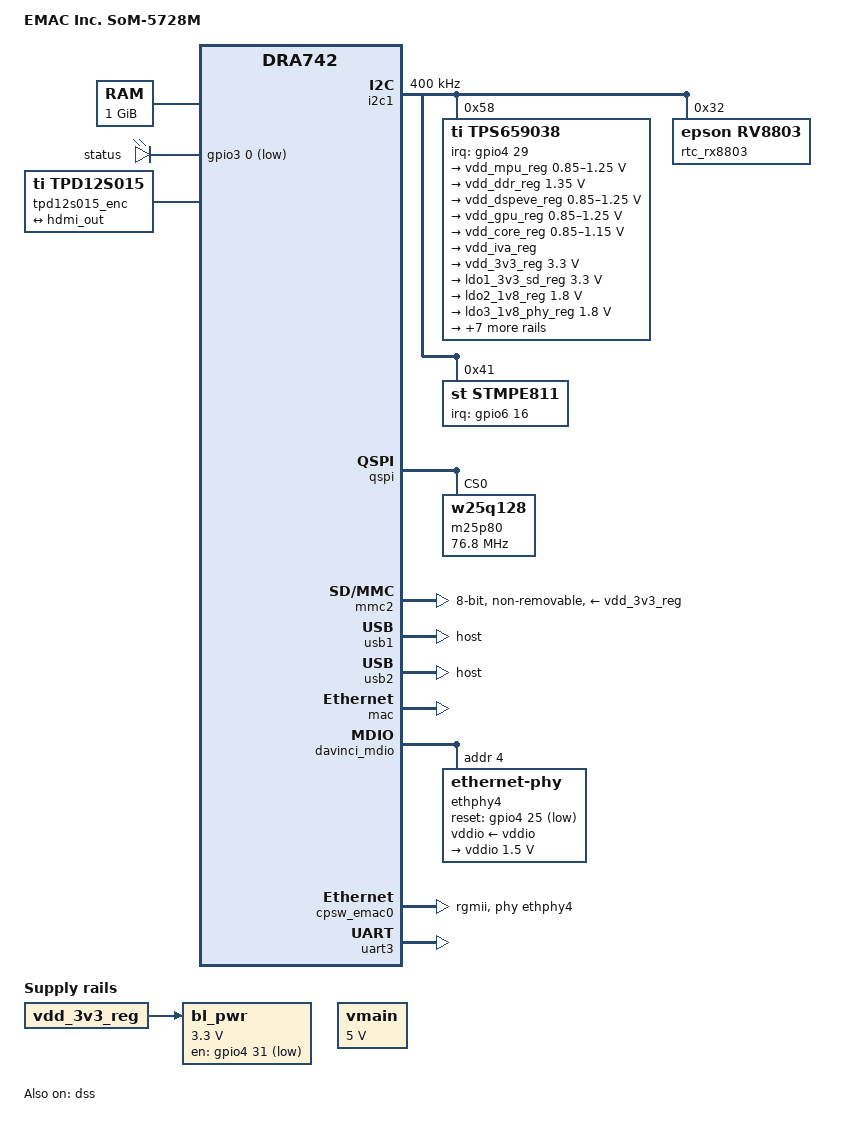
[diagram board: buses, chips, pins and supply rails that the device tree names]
/*
 * Copyright (C) 2014-2016 Texas Instruments Incorporated - http://www.ti.com/
 *
 * This program is free software; you can redistribute it and/or modify
 * it under the terms of the GNU General Public License version 2 as
 * published by the Free Software Foundation.
 */
/dts-v1/;

#include "dra74x.dtsi"
#include "am57xx-commercial-grade.dtsi"

#include "dra74x-mmc-iodelay.dtsi"

#include <dt-bindings/gpio/gpio.h>
#include <dt-bindings/interrupt-controller/irq.h>
#include <dt-bindings/net/qca-ar803x.h>

/ {
	model = "EMAC Inc. SoM-5728M";
	compatible = "emac,som-5728m", "ti,dra742", "ti,dra74", "ti,dra7";

	aliases {
		rtc0 = &rtc_rx8803;
		rtc1 = &tps659038_rtc;
		rtc2 = &rtc;
        mmcblk0 = &mmc1;
        mmcblk1 = &mmc2;
		spi1 = &mcspi3;
		spi2 = &mcspi4;
	};

	chosen {
		stdout-path = &uart3;
	};

	memory@0 {
		device_type = "memory";
		reg = <0x0 0x80000000 0x0 0x40000000>; /* 1GB configuration */
	};

	vmain: fixedregulator-vmain {
		compatible = "regulator-fixed";
		regulator-name = "VMAIN";
		regulator-min-microvolt = <5000000>;
		regulator-max-microvolt = <5000000>;
		regulator-always-on;
		regulator-boot-on;
	};

	bl_pwr: backlight-pwr-en {
		compatible = "regulator-fixed";
		regulator-name = "LVDS ABL EN";
		regulator-min-microvolt = <3300000>;
		regulator-max-microvolt = <3300000>;
		regulator-boot-on;
		vin-supply = <&vdd_3v3_reg>;
		gpio = <&gpio4 31 GPIO_ACTIVE_LOW>;
		startup-delay-us = <1000>;
	};

	leds {
		compatible = "gpio-leds";
		led0 {
			label = "status";
			gpios = <&gpio3 0 GPIO_ACTIVE_LOW>;
			linux,default-trigger = "heartbeat";
		};
	};

	tpd12s015_enc: encoder {
		compatible = "ti,tpd12s015";
		status = "okay";
		ports {
			#address-cells = <1>;
			#size-cells = <0>;

			port@0 {
				reg = <0>;

				tpd12s015_in: endpoint {
					remote-endpoint = <&hdmi_out>;
				};
			};

			port@1 {
				reg = <1>;

				tpd12s015_out: endpoint {
					remote-endpoint = <0>;
				};
			};
		};
	};
};

&cpu0 {
	vdd-supply = <&vdd_mpu_reg>;
	voltage-tolerance = <1>;
};

&cpu_trips {
	cpu_alert1: cpu_alert1 {
		temperature = <50000>; /* millicelsius */
		hysteresis = <2000>; /* millicelsius */
		type = "active";
	};
};

/*
 * i2c
 */
&i2c1 {
	status = "okay";
	clock-frequency = <400000>;
        // pmic
	tps659038: tps659038@58 {
		compatible = "ti,tps659038";
		reg = <0x58>;
		interrupt-parent = <&gpio4>;
		interrupts = <29 IRQ_TYPE_LEVEL_LOW>;
		#interrupt-cells = <2>;
		interrupt-controller;

		ti,palmas-override-powerhold;
		ti,system-power-controller;

		tps659038_pmic {
			compatible = "ti,tps659038-pmic";
			smps12-in-supply = <&vmain>;
			smps3-in-supply = <&vmain>;
			smps45-in-supply = <&vmain>;
			smps6-in-supply = <&vmain>;
			smps7-in-supply = <&vmain>;
			smps8-in-supply = <&vmain>;
			smps9-in-supply = <&vmain>;
			ldo1-in-supply = <&vmain>;
			ldo2-in-supply = <&vmain>;
			ldo3-in-supply = <&vmain>;
			ldo4-in-supply = <&vmain>;
			ldo9-in-supply = <&vmain>;
			ldoln-in-supply = <&vmain>;
			ldousb-in-supply = <&vmain>;
			ldortc-in-supply = <&vmain>;

			regulators {
				vdd_mpu_reg: smps12 {
					regulator-name = "smps12";
					regulator-min-microvolt = < 850000>;
					regulator-max-microvolt = <1250000>;
					regulator-always-on;
					regulator-boot-on;
				};

				vdd_ddr_reg: smps3 {
					/* VDD_DDR */
					regulator-name = "smps3";
					regulator-min-microvolt = <1350000>;
					regulator-max-microvolt = <1350000>;
					regulator-always-on;
					regulator-boot-on;
				};

				vdd_dspeve_reg: smps45 {
					/* VDD_DSPEVE */
					regulator-name = "smps45";
					regulator-min-microvolt = < 850000>;
					regulator-max-microvolt = <1250000>;
					regulator-always-on;
					regulator-boot-on;
				};

				vdd_gpu_reg: smps6 {
					/* VDD_GPU */
					regulator-name = "smps6";
					regulator-min-microvolt = <850000>;
					regulator-max-microvolt = <1250000>;
					regulator-always-on;
					regulator-boot-on;
				};

				vdd_core_reg: smps7 {
					/* VDD_CORE */
					regulator-name = "smps7";
					regulator-min-microvolt = <850000>;
					regulator-max-microvolt = <1150000>;
					regulator-always-on;
					regulator-boot-on;
				};

				vdd_iva_reg: smps8 {
					/* VDD_IVA */
					regulator-name = "smps8";
					//regulator-min-microvolt = <1800000>;
					//regulator-max-microvolt = <1800000>;
					//regulator-always-on;
					//regulator-boot-on;
				};

				vdd_3v3_reg: smps9 {
					/* VDD_3V3 */
					regulator-name = "smps9";
					regulator-min-microvolt = <3300000>;
					regulator-max-microvolt = <3300000>;
					regulator-always-on;
					regulator-boot-on;
				};

				ldo1_3v3_sd_reg: ldo1 {
					/* VDD_SD / VDDSHV8  */
					regulator-name = "ldo1";
					regulator-min-microvolt = <3300000>;
					regulator-max-microvolt = <3300000>;
					regulator-boot-on;
					regulator-always-on;
				};

				ldo2_1v8_reg: ldo2 {
					/* VDD_SHV5 */
					regulator-name = "ldo2";
					regulator-min-microvolt = <1800000>;
					regulator-max-microvolt = <1800000>;
					regulator-always-on;
					regulator-boot-on;
				};

				ldo3_1v8_phy_reg: ldo3 {
					/* VDDA_1V8_PHYA */
					regulator-name = "ldo3";
					regulator-min-microvolt = <1800000>;
					regulator-max-microvolt = <1800000>;
					regulator-always-on;
					regulator-boot-on;
				};

				ldo4_1v8_phy_reg: ldo4 {
					/* VDDA_1V8_PHYB */
					regulator-name = "ldo4";
					regulator-min-microvolt = <1800000>;
					regulator-max-microvolt = <1800000>;
					regulator-always-on;
					regulator-boot-on;
				};

				ldo9_rtc_reg: ldo9 {
					/* VDD_RTC */
					regulator-name = "ldo9";
					regulator-min-microvolt = <840000>;
					regulator-max-microvolt = <1160000>;
					regulator-always-on;
					regulator-boot-on;
				};

				ldoln_1v8_pll_reg: ldoln {
					/* VDDA_1V8_PLL */
					regulator-name = "ldoln";
					regulator-min-microvolt = <1800000>;
					regulator-max-microvolt = <1800000>;
					regulator-always-on;
					regulator-boot-on;
				};

				ldousb_3v3_reg: ldousb {
					/* VDDA_3V_USB: VDDA_USBHS33 */
					regulator-name = "ldousb";
					regulator-min-microvolt = <3300000>;
					regulator-max-microvolt = <3300000>;
					regulator-boot-on;
				};
				
				ldortc_1v8_reg: ldortc {
					/* VDDA_RTC  */
					regulator-name = "ldortc";
					regulator-min-microvolt = <1800000>;
					regulator-max-microvolt = <1800000>;
					regulator-always-on;
					regulator-boot-on;
				};

				/* unused */
				regen1: regen1 {
					/* VDD_3V3_ON */
					regulator-name = "regen1";
					regulator-boot-on;
					regulator-always-on;
				};
				/* unused */
				regen2: regen2 {
					/* Needed for PMIC internal resource */
					regulator-name = "regen2";
					regulator-boot-on;
					regulator-always-on;
				};
			};
		};

		tps659038_rtc: tps659038_rtc {
			compatible = "ti,palmas-rtc";
			interrupt-parent = <&tps659038>;
			interrupts = <8 IRQ_TYPE_EDGE_FALLING>;
			wakeup-source;
		};

		tps659038_pwr_button: tps659038_pwr_button {
			compatible = "ti,palmas-pwrbutton";
			interrupt-parent = <&tps659038>;
			interrupts = <1 IRQ_TYPE_EDGE_FALLING>;
			wakeup-source;
			ti,palmas-long-press-seconds = <12>;
		};
        
	};
	
	rtc_rx8803: rtc@32 {
		status = "okay";
		compatible = "epson,rv8803";
		reg = <0x32>;
	};

	/* STMPE811 touch screen controller */
	stmpe811@41 {
		compatible = "st,stmpe811";
		reg = <0x41>;
		interrupt-parent = <&gpio6>;
		interrupts = <16 IRQ_TYPE_LEVEL_LOW>;
		interrupt-controller;
		id = <0>;
		blocks = <0x5>;
		irq-trigger = <0x1>;
		st,mod-12b = <1>; /* 12-bit ADC */
		st,ref-sel = <0>; /* internal ADC reference */
		st,adc-freq = <1>; /* 3.25 MHz ADC clock speed */
		st,sample-time = <4>; /* ADC converstion time: 80 clocks */

		stmpe_adc {
			compatible = "st,stmpe-adc";
			/* forbid to use ADC channels 3-0 (touch) */
			st,norequest-mask = <0x0F>;
		};

		touch: stmpe_touchscreen {
			status = "disabled";
			compatible = "st,stmpe-ts";
			/* 8 sample average control */
			st,ave-ctrl = <3>;
			/* 7 length fractional part in z */
			st,fraction-z = <7>;
			/*
			 * 50 mA typical 80 mA max touchscreen drivers
			 * current limit value
			 */
			st,i-drive = <1>;
			/* 1 ms panel driver settling time */
			st,settling = <3>;
			/* 5 ms touch detect interrupt delay */
			st,touch-det-delay = <5>;
		};
	};
};

/*
 * SPI interfaces
*/

&qspi {
	status = "okay";
	spi-max-frequency = <76800000>;
	m25p80@0 {
		compatible = "w25q128", "jedec,spi-nor";
		spi-max-frequency = <76800000>;
		reg = <0>;
		spi-tx-bus-width = <1>;
		spi-rx-bus-width = <1>;
		#address-cells = <1>;
		#size-cells = <1>;
	};
};

&mcspi3 {
	status = "disabled";
	/* CS0 - native (vout1_clk) 
	 * CS1 - native (vout1_fld) 
	 * CS2 - native (vout1_d0) 
	 */
	cs-gpios = <0>,<0>,<0>;
	num-cs = <3>;

	pinctrl-names = "default";
    pinctrl-0 = <&mcspi3_pins_default>;
};

&mcspi4 {
	status = "disabled";
	/* CS0 - native (vin2a_d1) 
	 * CS1 - native (gpmc_a12) 
	 * CS2 - nc
	 * CS3 - native (gpmc_a14) 
	 */
	cs-gpios = <0>,<0>,<0>,<0>;
	num-cs = <4>;

	pinctrl-names = "default";
    pinctrl-0 = <&mcspi4_pins_default>;

	no-device@2 {/* Do Not Use */};
};

&mmc1 {
    status = "disabled";
    bus-width = <4>;
    vmmc-supply = <&vdd_3v3_reg>;
    vqmmc-supply = <&ldo1_3v3_sd_reg>;
    max-frequency = <48000000>;
    no-1-8-v;
    
    pinctrl-names = "default", "hs";
	pinctrl-0 = <&mmc1_pins_default>;
	pinctrl-1 = <&mmc1_pins_hs>;
};

&mmc2 {
    status = "okay";
    vmmc-supply = <&vdd_3v3_reg>;
    vqmmc-supply = <&vdd_3v3_reg>;
    bus-width = <8>;
    non-removable;
    max-frequency = <96000000>;
	no-1-8-v;
    
    pinctrl-names = "default", "hs";
	pinctrl-0 = <&mmc2_pins_default>;
	pinctrl-1 = <&mmc2_pins_hs>;
};

&mmc4 {
    status = "disabled";
    bus-width = <4>;
    vmmc-supply = <&vdd_3v3_reg>;
    vqmmc-supply = <&ldo1_3v3_sd_reg>;
    max-frequency = <48000000>;
    no-1-8-v;

    pinctrl-names = "default", "hs";
	pinctrl-0 = <&mmc4_pins_default>;
	pinctrl-1 = <&mmc4_pins_hs>;
};

// usb3.x interface
&usb1 { 
	dr_mode = "host";
};

// usb2.x interface
&usb2 { 
	dr_mode = "host";
};

&mac{
	slaves = <1>;
	status = "okay";
};

&davinci_mdio {
    ethphy4: ethernet-phy@4 {
		reg = <4>;
		qca,clk-out-frequency = <50000000>;
		qca,keep-pll-enabled;
		vddio-supply = <&vddio>;
		reset-gpios = <&gpio4 25 GPIO_ACTIVE_LOW>;
    	reset-assert-us = <500000>;
		reset-deassert-us = <500000>;

		vddio: vddio-regulator {
			regulator-min-microvolt = <1500000>;
			regulator-max-microvolt = <1500000>;
		};
    };
};

&cpsw_emac0 {
    phy-handle = <&ethphy4>;
    phy-mode = "rgmii";
	ti,dual-emac-pvid = <1>;
};
&cpsw_emac1 {
    status = "disabled";
};

&usb2_phy1 {
	phy-supply = <&ldousb_3v3_reg>;
};

&usb2_phy2 {
	phy-supply = <&ldousb_3v3_reg>;
};

&dss {
	status = "okay";
	vdda_video-supply = <&ldoln_1v8_pll_reg>;
	ports {
		#address-cells = <1>;
		#size-cells = <0>;
		port@2 {
			reg = <2>;
			lvds_out: endpoint {
				data-lines = <18>;
				status = "disabled";
			};
		};
	};
};

&hdmi {
	status = "disabled";
	vdda-supply = <&ldo4_1v8_phy_reg>;

	port {
		hdmi_out: endpoint {
			remote-endpoint = <&tpd12s015_in>;
		};
	};
};


&dra7_pmx_core {
	dcan1_pins_default: dcan1_pins_default {  
		pinctrl-single,pins = <
			DRA7XX_CORE_IOPAD(0x37d4, PIN_INPUT | MUX_MODE15) 	/* (Errata i893) dcan1_rx.dcan1_rx */
			DRA7XX_CORE_IOPAD(0x37d0, PIN_OUTPUT | MUX_MODE0) 	/* dcan1_tx.dcan1_tx */
		>;
	};

	dcan2_pins_default: dcan2_pins_default {
		pinctrl-single,pins = <
			DRA7XX_CORE_IOPAD(0x368c, PIN_INPUT | MUX_MODE15) 	/* (Errata i893) gpio6_15.dcan2_rx */
			DRA7XX_CORE_IOPAD(0x3688, PIN_OUTPUT | MUX_MODE2) 	/* gpio6_14.dcan2_tx */
		>;
	};
	uart5_pins: pinmux_uart5_pins {
		pinctrl-single,pins = <
			DRA7XX_CORE_IOPAD(0x35e0, PIN_INPUT | MUX_MODE2) /* vout1_d1.uart5_txd */
			DRA7XX_CORE_IOPAD(0x37c8, PIN_INPUT | MUX_MODE2) /* spi2_d0.uart5_rxd */
			DRA7XX_CORE_IOPAD(0x3448, PIN_INPUT | MUX_MODE8) /* gpmc_a2.uart5_cts */
			DRA7XX_CORE_IOPAD(0x344c, PIN_OUTPUT | MUX_MODE8) /* gpmc_a3.uart5_rts */
		>;
	};
	uart6_pins: pinmux_uart6_pins {
		pinctrl-single,pins = <
			DRA7XX_CORE_IOPAD(0x3600, PIN_INPUT | MUX_MODE2) /* vout1_d9.uart6_txd */
			DRA7XX_CORE_IOPAD(0x35fc, PIN_INPUT | MUX_MODE2) /* vout1_d8.uart6_rxd */
			DRA7XX_CORE_IOPAD(0x36bc, PIN_INPUT | MUX_MODE3) /* mcasp1_axr2.uart6_cts */
			DRA7XX_CORE_IOPAD(0x36c0, PIN_OUTPUT | MUX_MODE3) /* mcasp1_axr3.uart6_rts */
		>;
	};
	uart7_pins: pinmux_uart7_pins {
		pinctrl-single,pins = <
			DRA7XX_CORE_IOPAD(0x3620, PIN_INPUT | MUX_MODE2) /* vout1_d17.uart7_txd */
			DRA7XX_CORE_IOPAD(0x361c, PIN_INPUT | MUX_MODE2) /* vout1_d16.uart7_rxd */
			DRA7XX_CORE_IOPAD(0x34ec, PIN_INPUT | MUX_MODE5) /* vin1a_hsync0.uart7_cts */
			DRA7XX_CORE_IOPAD(0x34f0, PIN_OUTPUT | MUX_MODE5) /* vin1a_vsync0.uart7_rts */
		>;
	};
	uart8_pins: pinmux_uart8_pins {
		pinctrl-single,pins = <
			DRA7XX_CORE_IOPAD(0x345c, PIN_INPUT | MUX_MODE7) /* gpmc_a7.uart8_txd */
			DRA7XX_CORE_IOPAD(0x3458, PIN_INPUT | MUX_MODE7) /* gpmc_a6.uart8_rxd */
			DRA7XX_CORE_IOPAD(0x373c, PIN_INPUT | MUX_MODE3) /* mcasp4_axr0.uart8_cts */
			DRA7XX_CORE_IOPAD(0x3740, PIN_OUTPUT | MUX_MODE3) /* mcasp4_axr1.uart8_rts */
		>;
	};
	mcspi3_pins_default: mcspi3_pins_default {
		pinctrl-single,pins = <
			DRA7XX_CORE_IOPAD(0x35d4, PIN_INPUT | MUX_MODE8) /* vout1_hsync.spi3_d0 */
			DRA7XX_CORE_IOPAD(0x35cc, PIN_INPUT | MUX_MODE8) /* vout1_de.spi3_d1 */
			DRA7XX_CORE_IOPAD(0x35d8, PIN_INPUT | MUX_MODE8) /* vout1_vsync.spi3_clk */
			DRA7XX_CORE_IOPAD(0x35c8, PIN_OUTPUT_PULLUP | MUX_MODE8) /* vout1_clk.spi3_cs0 */
			DRA7XX_CORE_IOPAD(0x35d0, PIN_OUTPUT_PULLUP | MUX_MODE8) /* vout1_fld.spi3_cs1 */
			DRA7XX_CORE_IOPAD(0x35dc, PIN_OUTPUT_PULLUP | MUX_MODE8) /* vout1_d0.spi3_cs2 */
		>;
	};
	mcspi4_pins_default: mcspi4_pins_default {
		pinctrl-single,pins = <
			DRA7XX_CORE_IOPAD(0x3568, PIN_INPUT | MUX_MODE8) /* vin2a_d0.spi4_d0 */
			DRA7XX_CORE_IOPAD(0x3564, PIN_INPUT | MUX_MODE8) /* vin2a_vsync0.spi4_d1 */
			DRA7XX_CORE_IOPAD(0x3560, PIN_INPUT | MUX_MODE8) /* vin2a_hsync0.spi4_clk */
			DRA7XX_CORE_IOPAD(0x356c, PIN_OUTPUT_PULLUP | MUX_MODE8) /* vin2a_d1.spi4_cs0 */
			DRA7XX_CORE_IOPAD(0x3470, PIN_OUTPUT_PULLUP | MUX_MODE8) /* gpmc_a12.spi4_cs1 */
			DRA7XX_CORE_IOPAD(0x3478, PIN_OUTPUT_PULLUP | MUX_MODE8) /* gpmc_a14.spi4_cs3 */
		>;
	};
};

/*
 * Can
 */
&dcan1 {
    status = "disabled";
    pinctrl-names = "default";
    pinctrl-0 = <&dcan1_pins_default>;
};

&dcan2 {
    status = "disabled";
    pinctrl-names = "default";
    pinctrl-0 = <&dcan2_pins_default>;
};

/*
 * UART
 */

&uart1 {
	status = "disabled";
};

&uart2 {
	status = "disabled";
};

// console
&uart3 {
	status = "okay";
	interrupts-extended = <&crossbar_mpu GIC_SPI 69 IRQ_TYPE_LEVEL_HIGH>, <&dra7_pmx_core 0x3f8>;
};

&uart5 {
	pinctrl-names = "default";
	pinctrl-0 = <&uart5_pins>;
};

&uart6 {
	pinctrl-names = "default";
	pinctrl-0 = <&uart6_pins>;
};

&uart7 {
	pinctrl-names = "default";
	pinctrl-0 = <&uart7_pins>;
};

&uart8 {
	pinctrl-names = "default";
	pinctrl-0 = <&uart8_pins>;
};

&mcasp5 {
    #sound-dai-cells = <0>;
    assigned-clocks = <&mcasp5_ahclkx_mux>;
    assigned-clock-parents = <&sys_clkin2>;
    op-mode = <0>;	
    tdm-slots = <2>;
    serial-dir = < 1 2 0 0 >;
    tx-num-evt = <32>;
    rx-num-evt = <32>;
};

&mcasp8 {
    #sound-dai-cells = <0>;
    assigned-clocks = <&mcasp8_ahclkx_mux>;
    assigned-clock-parents = <&sys_clkin2>;
    op-mode = <0>;	
    tdm-slots = <2>;
    serial-dir = < 1 2 0 0 >;
    tx-num-evt = <32>;
    rx-num-evt = <32>;
};

&epwmss0 {
	eqep0: counter@180 {
		compatible = "ti,dra746-eqep", 
				 "ti,am3352-eqep";
		reg = <0x180 0x80>;
		clocks = <&l4_root_clk_div>;
		clock-names = "sysclkout";
		interrupts = <210>;
		status = "disabled";
	};
};

&epwmss1 {
	eqep1: counter@180 {
		compatible = "ti,dra746-eqep", 
				 "ti,am3352-eqep";
		reg = <0x180 0x80>;
		clocks = <&l4_root_clk_div>;
		clock-names = "sysclkout";
		interrupts = <211>;
		status = "disabled";
	};
};

&epwmss2 {
	eqep2: counter@180 {
		compatible = "ti,dra746-eqep", 
				 "ti,am3352-eqep";
		reg = <0x180 0x80>;
		clocks = <&l4_root_clk_div>;
		clock-names = "sysclkout";
		interrupts = <212>;
		status = "disabled";
	};
};


